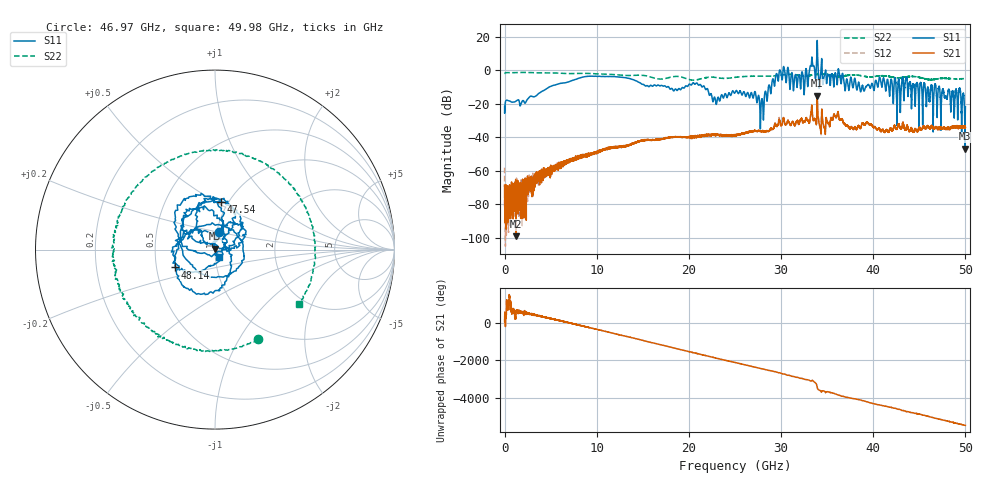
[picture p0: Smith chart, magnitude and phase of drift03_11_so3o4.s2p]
!Created with skrf (http://scikit-rf.org).
# Hz S RI R 50.0
!freq ReS11 ImS11 ReS21 ImS21 ReS12 ImS12 ReS22 ImS22
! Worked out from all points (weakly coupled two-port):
!   10001 points, 300 kHz to 50 GHz, reference 50 ohm
!   highest |S21| = -15.28 dB at 33.92 GHz (marker M1); lowest = -99.0 dB at 1.24 GHz (marker M2)
!   lowest |S11| = -46.8 dB at 49.95 GHz (marker M3), VSWR 1.01, Z = 49.9 + j0.441 ohm
!   |S11| at or under -10 dB: start of sweep to 4.851 GHz; 21.69 GHz to 28.62 GHz (6.932 GHz wide, 27.6 % of centre); 47.18 GHz to end of sweep (the widest 3 of 45)
!   |S22| runs from -5.9 to -1.3 dB; largest |S21 - S12| = 0.019
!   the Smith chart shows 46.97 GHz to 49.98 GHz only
!   S11 on the Smith chart (normalised r, x): 46.97 GHz: 1.02, +0.20; 47.54 GHz: 0.92, +0.53; 48.14 GHz: 0.62, -0.13; 49.98 GHz: 1.04, -0.08
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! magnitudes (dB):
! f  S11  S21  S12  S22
! 300 kHz  -21.7  -68.6  -58.1  -2.1
! 290.3 MHz  -17.9  -73.0  -80.4  -1.4
! 1.24 GHz  -18.4  -99.0  -66.9  -1.4
! 8.335 GHz  -4.3  -51.1  -52.0  -1.9
! 16.67 GHz  -8.8  -41.5  -41.3  -5.2
! 21.01 GHz  -8.8  -39.6  -39.1  -5.6
! 22.81 GHz  -16.3  -38.7  -38.4  -4.3
! 25 GHz  -13.4  -38.9  -38.9  -4.3
! 27.02 GHz  -15.8  -36.1  -36.4  -3.5
! 27.92 GHz  -17.2  -36.5  -36.3  -3.5
! 29.69 GHz  -6.5  -32.1  -31.7  -3.1
! 32.32 GHz  -1.5  -30.4  -30.7  -3.3
! 33.34 GHz  7.5  -20.7  -21.1  -3.0
! 33.92 GHz  17.7  -15.3  -15.5  -2.4
! 38.81 GHz  -9.2  -31.5  -32.0  -3.4
! 41.67 GHz  -9.0  -37.0  -36.6  -3.7
! 46.97 GHz  -20.1  -34.6  -34.4  -5.2
! 47.54 GHz  -11.4  -35.1  -34.6  -4.9
! 48.14 GHz  -12.2  -34.0  -34.7  -5.0
! 49.95 GHz  -46.8  -33.4  -34.2  -5.0
! 49.98 GHz  -27.0  -33.8  -33.7  -5.1
! 50 GHz  -21.8  -34.2  -34.1  -5.0
